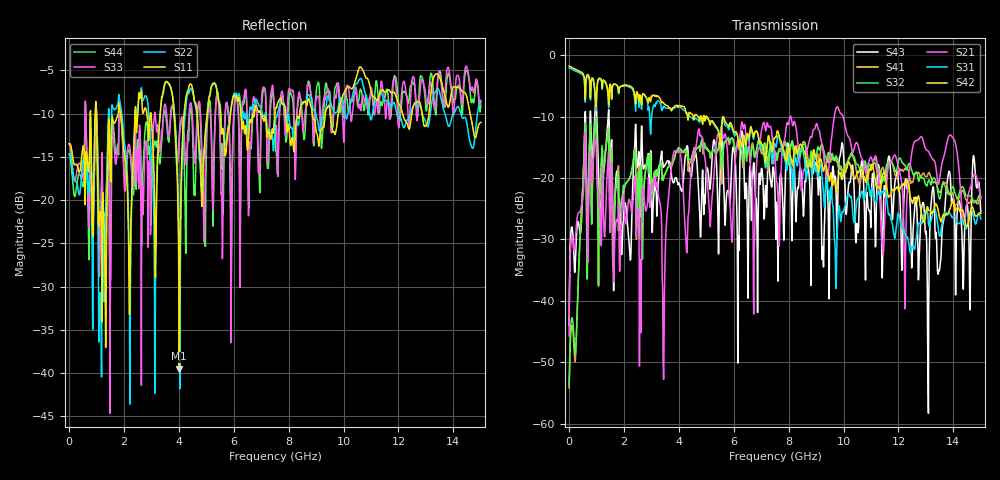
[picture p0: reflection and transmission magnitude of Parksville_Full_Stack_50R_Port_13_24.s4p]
! Created Fri Feb 27 17:09:16 2026
# hz S ma R 50
! 4 Port Network Data from SP1.SP block
! freq  magS11  angS11  magS12  angS12  magS13  angS13  magS14  angS14
!  magS21  angS21  magS22  angS22  magS23  angS23  magS24  angS24
!  magS31  angS31  magS32  angS32  magS33  angS33  magS34  angS34
!  magS41  angS41  magS42  angS42  magS43  angS43  magS44  angS44
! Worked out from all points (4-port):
!   1500 points, 10 MHz to 15 GHz, reference 50 ohm
!   strongest paths, dB at 10 MHz, 3.76 GHz, 7.51 GHz, 11.26 GHz, 15 GHz:
!     S42: -1.8, -8.7, -13.4, -21.6, -25.8
!     S31: -2.1, -8.8, -14.5, -22.2, -26.7
!     S21: -45.7, -17.3, -16.8, -19.3, -23.4
!     S32: -53.9, -17.7, -15.8, -18.5, -23.1
!     S41: -54.2, -17.9, -16.1, -19.3, -23.1
!     S43: -44.0, -20.2, -23.1, -17.8, -25.4
!   lowest |S11| = -39.5 dB at 4.02 GHz (marker M1), VSWR 1.02, Z = 49 - j0.162 ohm
!   |S11| at or under -10 dB: start of sweep to 779 MHz; 1.005 GHz to 1.798 GHz (792.8 MHz wide, 56.6 % of centre); 1.884 GHz to 2.409 GHz (525.8 MHz wide, 24.5 % of centre)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
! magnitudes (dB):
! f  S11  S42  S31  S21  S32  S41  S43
! 10 MHz  -13.5  -1.8  -2.1  -45.7  -53.9  -54.2  -44.0
! 950 MHz  -10.8  -6.0  -6.5  -13.8  -11.3  -11.9  -9.3
! 1.14 GHz  -21.3  -3.8  -4.0  -26.3  -21.5  -21.9  -24.7
! 1.63 GHz  -11.0  -4.7  -4.7  -36.9  -27.6  -27.4  -38.4
! 3.46 GHz  -7.1  -7.9  -8.3  -49.3  -19.8  -19.6  -18.2
! 4.02 GHz  -39.5  -8.2  -8.3  -15.5  -15.1  -15.4  -21.0
! 15 GHz  -11.0  -25.8  -26.7  -23.4  -23.1  -23.1  -25.4
